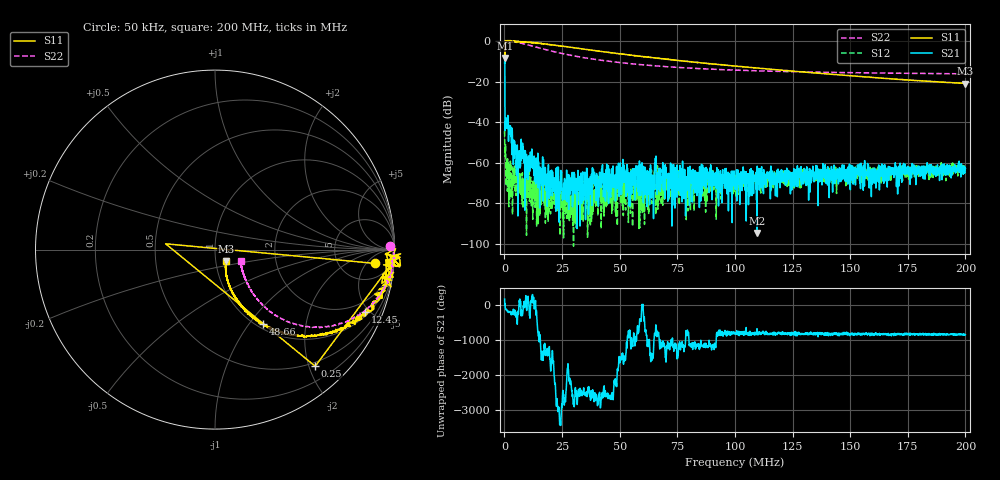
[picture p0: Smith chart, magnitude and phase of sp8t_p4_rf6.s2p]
! 26-Feb-26 11:55:24 AM
! E:\VNA_MEASUREMENTS\SP8T\SP8T_P4_RF6.S2P
! CHANNEL.1
! TR.MEASUREMENT
! CORRECTED.DATA
# GHZ S RI R 50.0
! FREQ.GHZ  S11RE  S11IM  S21RE  S21IM  S12RE  S12IM  S22RE  S22IM
!; PortSelection: Port_12
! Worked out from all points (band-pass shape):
!   2000 points, 50 kHz to 200 MHz, reference 50 ohm
!   highest |S21| = -8.35 dB at 150 kHz (marker M1); lowest = -94.8 dB at 109.6 MHz (marker M2)
!   |S21| within 3 dB of the highest: start of sweep to 158.4 kHz
!   lowest |S11| = -21.0 dB at 200 MHz (marker M3), VSWR 1.20, Z = 56.1 - j7.31 ohm
!   |S11| at or under -10 dB: 138.7 kHz to 161.8 kHz (23.13 kHz wide, 15.4 % of centre); 78.43264 MHz to 78.49957 MHz (66.93 kHz wide, 0.0853 % of centre); 79.03 MHz to end of sweep
!   |S22| runs from -16.2 to 0.0 dB; largest |S21 - S12| = 0.38
!   S11 on the Smith chart (normalised r, x): 50 kHz: 11, -9; 250 kHz: 0.43, -2.11; 12.45 MHz: 1.21, -4.69; 48.66 MHz: 1.08, -1.17; 200 MHz: 1.12, -0.15
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5e-05  0.8901 -0.0768  -0.2882 0.03  0.000967 -0.00592  0.9776 0.0197
0.000150025  -0.275 0.0324  0.382 -0.0132  -0.000188 -0.00183  0.9983 -0.00661
0.00025005  0.5584 -0.6499  0.00454 0.0041  -0.000927 0.00112  0.9994 -0.0201
0.0012503  0.9549 -0.0215  -0.00661 -0.00209  0.00016 0.000113  0.9963 -0.081
0.0028507  1 -0.0906  -0.00592 0.00439  0.000463 1.37e-05  0.9555 -0.1733
0.004851201  0.956 -0.1555  -0.00239 0.000367  -0.000172 -4.25e-05  0.8987 -0.2723
0.006051501  0.9474 -0.1987  -0.000251 0.00155  0.000139 0.000448  0.8575 -0.3198
0.007751926  0.9207 -0.2424  0.000942 0.00182  0.000438 0.000344  0.7876 -0.3715
0.009352326  0.9034 -0.2778  -0.00109 0.000902  7.95e-05 0.000234  0.7234 -0.4028
0.0124531  0.8356 -0.3487  -0.000703 0.000125  -0.000346 -6.08e-05  0.6054 -0.4326
0.02585645  0.5635 -0.4817  -5.15e-05 0.000165  0.000121 -8.38e-05  0.324 -0.3566
0.03345835  0.4323 -0.4761  6.82e-05 6.89e-05  -2.5e-05 -3.04e-05  0.2597 -0.3034
0.04076018  0.3406 -0.4477  -8e-05 2.65e-05  7.68e-05 -0.000235  0.2231 -0.2611
0.0436609  0.3154 -0.4391  -2.45e-05 -0.000248  -6.45e-05 -0.000146  0.2129 -0.2476
0.04576143  0.2977 -0.4326  0.000176 -0.000464  0.00023 -0.000164  0.2074 -0.2377
0.04866216  0.269 -0.4124  -0.000798 -0.000155  0.000169 -0.000115  0.2001 -0.2255
0.06676668  0.1699 -0.3402  7.98e-05 -0.000318  0.000121 -0.000121  0.1719 -0.1704
0.100075  0.0894 -0.2258  0.000131 -0.000368  0.000127 -0.000304  0.1522 -0.1166
0.1095774  0.0802 -0.2013  1.21e-05 1.36e-05  9.5e-06 -0.000429  0.1497 -0.1074
0.1333833  0.0653 -0.152  -0.000199 -0.000558  6.35e-05 -0.000551  0.1469 -0.0902
0.1666917  0.0592 -0.1022  -0.000128 -0.000346  -0.000375 -0.000665  0.144 -0.0741
0.2  0.062 -0.0646  -0.000411 -0.000577  -0.000274 -0.000665  0.1423 -0.0628
